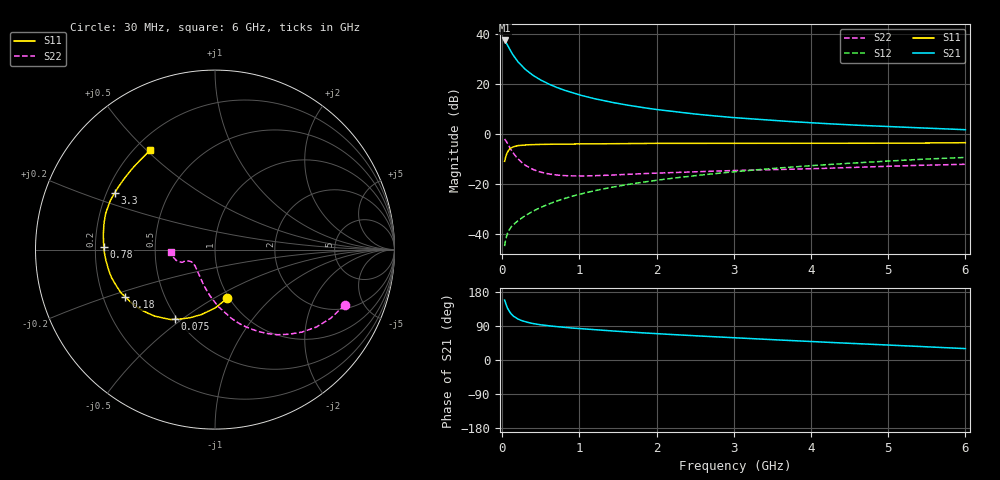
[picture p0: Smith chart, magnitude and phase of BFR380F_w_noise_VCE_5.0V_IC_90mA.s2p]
! Infineon Technologies  Discrete & RF Semiconductors
! BFR380F
! VCE =  5.0 V,  IC =  90 mA
! Common Emitter S-Parameters:  Nov 2015
# GHz  S  MA  R  50
!  f  S11  S21  S12  S22
! GHz  MAG  ANG  MAG  ANG  MAG  ANG  MAG  ANG
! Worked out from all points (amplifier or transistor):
!   206 points, 30 MHz to 6 GHz, reference 50 ohm
!   highest |S21| = 37.3 dB at 30 MHz (marker M1)
!   |S21| within 3 dB of that: start of sweep to 86.29 MHz
!   unconditionally stable (mu >= 1): 588 MHz to 4.741 GHz
!   at 200 MHz: K = 0.73, MSG = 31.9 dB, |S12| = -34.9 dB
!   at 1.56 GHz: K = 1.06, MAG = 14.7 dB, |S12| = -20.7 dB
!   at 6 GHz: K = 0.98, MSG = 5.5 dB, |S12| = -9.5 dB
!   lowest NFmin = 2.09 dB at 450 MHz
!   S11 on the Smith chart (normalised r, x): 30 MHz: 0.98, -0.58; 75 MHz: 0.48, -0.47; 180 MHz: 0.29, -0.23; 780 MHz: 0.23, +0.01; 3.3 GHz: 0.23, +0.25; 6 GHz: 0.26, +0.51
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0.03  0.2803 -76.1  73.63 158.1  0.0056 74.7  0.7853 -23.2
0.04  0.3249 -89.8  70.09 151.7  0.007 71.1  0.7501 -30.6
0.05  0.3698 -101.8  66.32 145.5  0.0083 66.8  0.7106 -37.4
0.06  0.4047 -110.2  62.1 140.7  0.0094 64.9  0.6683 -43.4
0.075  0.4489 -120.1  56.22 134.1  0.0108 62.2  0.607 -51.2
0.1  0.5003 -132.2  47.64 125.7  0.0126 59.2  0.5184 -61.8
0.12  0.5245 -139.2  42.11 120.7  0.0139 58.0  0.4608 -68.5
0.15  0.5508 -147.0  35.58 114.9  0.0153 58.1  0.3937 -76.6
0.18  0.565 -152.1  30.91 111.3  0.0169 58.9  0.3462 -82.2
0.2  0.5768 -155.4  27.88 108.3  0.0179 59.3  0.3168 -86.9
0.26  0.5895 -161.7  22.17 103.4  0.0209 61.8  0.26 -96.0
0.3  0.5974 -165.0  19.32 100.7  0.0229 63.4  0.2329 -101.4
0.4  0.6049 -170.5  14.69 96.1  0.0281 66.6  0.1922 -112.0
0.6  0.6149 -177.2  9.898 90.2  0.039 70.5  0.1567 -127.5
0.78  0.6195 178.8  7.668 86.5  0.049 72.4  0.1457 -136.9
1.04  0.6246 174.2  5.771 82.1  0.0634 73.6  0.1426 -145.8
2.02  0.6411 162.4  3.026 69.3  0.118 72.9  0.1631 -157.1
3.1  0.6427 152.2  2.048 57.8  0.1783 69.4  0.1844 -159.2
3.3  0.642 150.3  1.944 55.8  0.1897 68.6  0.1874 -159.0
4.1  0.6418 142.4  1.621 47.7  0.2346 64.9  0.2006 -159.5
5.1  0.6467 133.1  1.37 38.5  0.289 60.0  0.2264 -165.5
6  0.6612 123.3  1.203 30.1  0.3354 54.5  0.2444 -176.4
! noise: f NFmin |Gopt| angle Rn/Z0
0.45  2.09  0.53  -173  0.08
0.9  2.16  0.56  -169  0.08
1.8  2.62  0.61  -157  0.14
1.9  2.77  0.62  -157  0.14
2.4  2.91  0.63  -148  0.23
3.5  3.85  0.64  -137  0.48
